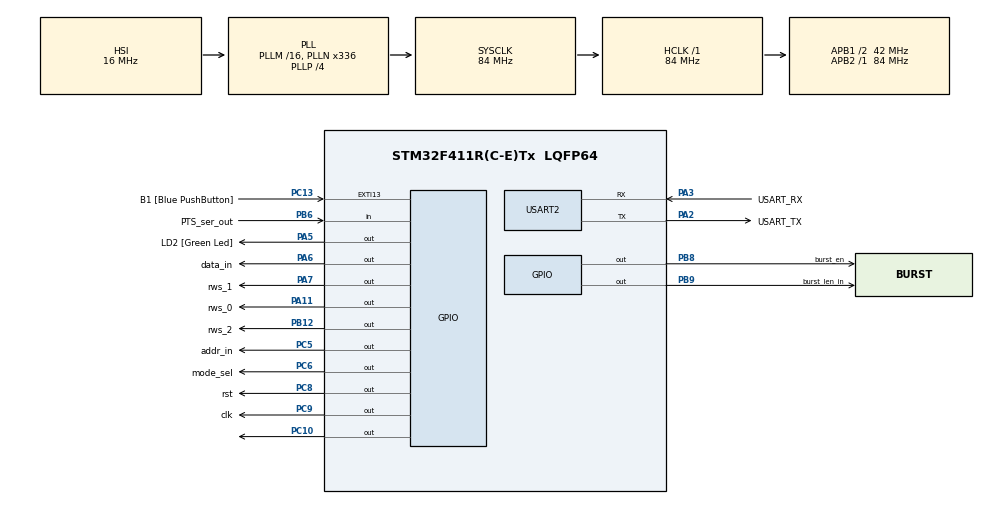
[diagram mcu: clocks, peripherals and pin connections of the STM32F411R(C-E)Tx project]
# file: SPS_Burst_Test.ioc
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Mcu.Family=STM32F4
Mcu.Name=STM32F411R(C-E)Tx
Mcu.Package=LQFP64
NVIC.PriorityGroup=NVIC_PRIORITYGROUP_0
PA11.GPIO_Label=rws_0
PA11.Signal=GPIO_Output
PA13.GPIO_Label=TMS
PA13.Mode=Serial_Wire
PA13.Signal=SYS_JTMS-SWDIO
PA14.GPIO_Label=TCK
PA14.Mode=Serial_Wire
PA14.Signal=SYS_JTCK-SWCLK
PA2.GPIO_Label=USART_TX
PA2.Mode=Asynchronous
PA2.Signal=USART2_TX
PA3.GPIO_Label=USART_RX
PA3.Mode=Asynchronous
PA3.Signal=USART2_RX
PA5.GPIO_Label=LD2 [Green Led]
PA5.Signal=GPIO_Output
PA6.GPIO_Label=data_in
PA6.Signal=GPIO_Output
PA7.GPIO_Label=rws_1
PA7.Signal=GPIO_Output
PB12.GPIO_Label=rws_2
PB12.Signal=GPIO_Output
PB3.GPIO_Label=SWO
PB3.Signal=SYS_JTDO-SWO
PB6.GPIO_Label=PTS_ser_out
PB6.Signal=GPIO_Input
PB8.GPIO_Label=burst_en
PB8.Signal=GPIO_Output
PB9.GPIO_Label=burst_len_in
PB9.Signal=GPIO_Output
PC10.Signal=GPIO_Output
PC13-ANTI_TAMP.GPIO_Label=B1 [Blue PushButton]
PC13-ANTI_TAMP.GPIO_ModeDefaultEXTI=GPIO_MODE_IT_FALLING
PC13-ANTI_TAMP.Signal=GPXTI13
PC14-OSC32_IN.Mode=LSE-External-Oscillator
PC14-OSC32_IN.Signal=RCC_OSC32_IN
PC15-OSC32_OUT.Mode=LSE-External-Oscillator
PC15-OSC32_OUT.Signal=RCC_OSC32_OUT
PC5.GPIO_Label=addr_in
PC5.Signal=GPIO_Output
PC6.GPIO_Label=mode_sel
PC6.Signal=GPIO_Output
PC8.GPIO_Label=rst
PC8.Signal=GPIO_Output
PC9.GPIO_Label=clk
PC9.Signal=GPIO_Output
PH0\ -\ OSC_IN.Mode=HSE-External-Clock-Source
PH0\ -\ OSC_IN.Signal=RCC_OSC_IN
PH1\ -\ OSC_OUT.Mode=HSE-External-Clock-Source
PH1\ -\ OSC_OUT.Signal=RCC_OSC_OUT
ProjectManager.HeapSize=0x200
ProjectManager.StackSize=0x400
ProjectManager.TargetToolchain=STM32CubeIDE
RCC.48MHZClocksFreq_Value=84000000
RCC.AHBFreq_Value=84000000
RCC.APB1CLKDivider=RCC_HCLK_DIV2
RCC.APB1Freq_Value=42000000
RCC.APB1TimFreq_Value=84000000
RCC.APB2Freq_Value=84000000
RCC.APB2TimFreq_Value=84000000
RCC.CortexFreq_Value=84000000
RCC.FLatency-AdvancedSettings=FLASH_LATENCY_2
RCC.HCLKFreq_Value=84000000
RCC.HSE_VALUE=8000000
RCC.HSI_VALUE=16000000
RCC.PLLN=336
RCC.PLLP=RCC_PLLP_DIV4
RCC.SYSCLKFreq_VALUE=84000000
RCC.SYSCLKSource=RCC_SYSCLKSOURCE_PLLCLK
RCC.VCOOutputFreq_Value=336000000
TIM1.Period=0xffff - 1
TIM1.Prescaler=1 - 1
TIM2.Prescaler=84 - 1
USART2.VirtualMode=VM_ASYNC
VP_TIM1_VS_ClockSourceINT.Mode=Internal
VP_TIM2_VS_ClockSourceINT.Mode=Internal
board=NUCLEO-F411RE

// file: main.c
/* USER CODE BEGIN Header */
/**
  ******************************************************************************
  * @file           : main.c
  * @brief          : Main program body
  ******************************************************************************
  * @attention
  *
  * Copyright (c) 2025 STMicroelectronics.
  * All rights reserved.
  *
  * This software is licensed under terms that can be found in the LICENSE file
  * in the root directory of this software component.
  * If no LICENSE file comes with this software, it is provided AS-IS.
  *
  ******************************************************************************
  */
/* USER CODE END Header */
#include "main.h"

TIM_HandleTypeDef htim1;
TIM_HandleTypeDef htim2;

UART_HandleTypeDef huart2;

void SystemClock_Config(void);
static void MX_GPIO_Init(void);
static void MX_USART2_UART_Init(void);
static void MX_TIM1_Init(void);
static void MX_TIM2_Init(void);

int main(void)
{

  /* MCU Configuration--------------------------------------------------------*/

  /* Reset of all peripherals, Initializes the Flash interface and the Systick. */
  HAL_Init();

  /* Configure the system clock */
  SystemClock_Config();

  /* Initialize all configured peripherals */
  MX_GPIO_Init();
  MX_USART2_UART_Init();
  MX_TIM1_Init();
  MX_TIM2_Init();
  /* USER CODE BEGIN 2 */
  	// Measuring Elapsed time
    uint32_t start, stop, elapsed;
    double elapsed_time;

	// Printing to terminal
	uint8_t tx_buff[64];
	int read_data[16];

	sprintf(tx_buff, "Starting Program\r\n");
	HAL_UART_Transmit(&huart2, tx_buff, 19, 1000);

	// Delay function
	HAL_TIM_Base_Start(&htim1);
	void delay_us (uint16_t us)
	{
	// Changes depending on prescaler set in TIM1.
	// TIM1 is connected to APB2 and will be clocked at 84Mhz
	// Possible to tweak the prescalar in order to change the clock speed
    // As of now, the prescaler is set to 1, meaning that the period is 1/84^6, approx 12ns.
	__HAL_TIM_SET_COUNTER(&htim1,0);  // set the counter value a 0
	while (__HAL_TIM_GET_COUNTER(&htim1) < us);  // wait for the counter to reach the us input in the parameter
	}

	// System reset. Ends with clock being low. 9 8 6 5
	void MRAM_reset(){
	  HAL_GPIO_WritePin(GPIOC, clk_Pin, 0);				// PC9
	  HAL_GPIO_WritePin(GPIOC, rst_Pin, 1);				// PC8
	  HAL_GPIO_WritePin(GPIOB, burst_en_Pin, 0);		// PB8
	  HAL_GPIO_WritePin(GPIOC, mode_sel_Pin, 0);		// PC6
	  HAL_GPIO_WritePin(GPIOB, burst_len_in_Pin, 0);	// PB9
	  HAL_GPIO_WritePin(GPIOC, addr_in_Pin, 0);			// PC5
	  HAL_GPIO_WritePin(GPIOA, data_in_Pin, 0);			// PA6
	  HAL_GPIO_WritePin(GPIOA, rws_0_Pin, 1);			// PA11
	  HAL_GPIO_WritePin(GPIOA, rws_1_Pin, 1);			// PA7
	  HAL_GPIO_WritePin(GPIOB, rws_2_Pin, 1);			// PB12
	  delay_us(1);
	  HAL_GPIO_WritePin(GPIOC, clk_Pin, 1);
	  delay_us(1);
	  HAL_GPIO_WritePin(GPIOC, clk_Pin, 0);
	}

	void MRAM_reset_no_HAL(){
		  // Set the GPIO pins
		  GPIOA->BSRR = 0x000008C0;
		  GPIOB->BSRR = 0x00001300;
		  GPIOC->BSRR = 0x00000360;

		  // Write the following values to the pins (as per MRAM_reset)
		  GPIOA->ODR = 0x00000880;
		  GPIOB->ODR = 0x00001000;
		  GPIOC->ODR = 0x00000100;
		  delay_us(1);
		  // Set clock high
		  GPIOC->ODR = 0x00000300;
		  delay_us(1);
		  // Set clock low
		  GPIOC->ODR = 0x00000100;
	}

	// Single word write
	uint32_t bitwise_one = 1;

	void MRAM_single_word_write(uint32_t addr_in, uint32_t data_in){		// 16-bit unsigned short
	  int  i;
	  uint32_t addr = addr_in;
	  uint32_t data = data_in;

	  for (i = 0; i < 23; i++){
		  HAL_GPIO_WritePin(GPIOC, clk_Pin, 0);					// PC9
		  HAL_GPIO_WritePin(GPIOC, rst_Pin, 0);					// PC8

		  if (i == 0){
			  HAL_GPIO_WritePin(GPIOB, burst_en_Pin, 0);		// PB8
			  HAL_GPIO_WritePin(GPIOC, mode_sel_Pin, 0);		// PC6
			  HAL_GPIO_WritePin(GPIOB, burst_len_in_Pin, 0);	// PB9
			  HAL_GPIO_WritePin(GPIOA, rws_0_Pin, 1);			// PA11
			  HAL_GPIO_WritePin(GPIOA, rws_1_Pin, 1);			// PA7
			  HAL_GPIO_WritePin(GPIOB, rws_2_Pin, 1);			// PB12
		  }
		  else{
			  if (i > 1){
				  addr = addr >> 1;
				  data = data >> 1;
			  }
			  HAL_GPIO_WritePin(GPIOC, addr_in_Pin, addr & bitwise_one);		// PC5
			  HAL_GPIO_WritePin(GPIOA, data_in_Pin, data & bitwise_one);		// PA6
		  }

		  //delay_us(1);
		  HAL_GPIO_WritePin(GPIOC, clk_Pin, 1);
		  //delay_us(1);
	  }
	}

	  void MRAM_single_word_write_no_HAL(uint32_t addr_in, uint32_t data_in){
	  	  int  i;
	  	  uint32_t addr = addr_in;
	  	  uint32_t data = data_in;

	  	  for (i = 0; i < 23; i++){
	  		  // Set clk and rst low
	  		  GPIOC->ODR = GPIOC->ODR & 0xFCFF;

	  		  if (i == 0){
	  			GPIOA->ODR = 0x00000880;
	  			GPIOB->ODR = 0x00001300;
	  			//GPIOC->ODR = 0x00000000;
	  		  }
	  		  else{
	  			  if (i > 1){
	  				  addr = addr >> 1;
	  				  data = data >> 1;
	  			  }
	  			  GPIOC->ODR = (GPIOC->ODR & 0xFFDF) | ((addr & bitwise_one) << 5);
	  			  GPIOA->ODR = (GPIOA->ODR & 0xFFBF) | ((data & bitwise_one) << 6);
	  		  }

	  		  //delay_us(1);
	  		  GPIOC->ODR = GPIOC->ODR | 0x200;
	  		  //delay_us(1);
	  	  }

	  // End on low clock
	  	GPIOC->ODR = 0x00000000;
	}

  	  // Single Word Read
  	  void MRAM_single_word_read(uint32_t addr_in, uint16_t arr_read[]){		// 16-bit unsigned short
  	  int  i;
  	  uint32_t addr = addr_in;
  	  uint16_t data = 0;

  	  // First loop to receive base address
  	  for (i = 0; i < 23; i++){
  		  HAL_GPIO_WritePin(GPIOC, clk_Pin, 0);
  		  HAL_GPIO_WritePin(GPIOC, rst_Pin, 0);

  		  if (i == 0){
  			  HAL_GPIO_WritePin(GPIOB, burst_en_Pin, 0);
  			  HAL_GPIO_WritePin(GPIOC, mode_sel_Pin, 0);
  			  HAL_GPIO_WritePin(GPIOB, burst_len_in_Pin, 0);
  			  HAL_GPIO_WritePin(GPIOA, rws_0_Pin, 0);
  			  HAL_GPIO_WritePin(GPIOA, rws_1_Pin, 1);
  			  HAL_GPIO_WritePin(GPIOB, rws_2_Pin, 1);
  		  }
  		  else{
  			if (i > 1){
  				addr = addr >> 1;
  			}
  			HAL_GPIO_WritePin(GPIOC, addr_in_Pin, addr & bitwise_one);
  		  }
  		  //delay_us(1);
  		  HAL_GPIO_WritePin(GPIOC, clk_Pin, 1);
  		  //delay_us(1);
  	  }

  	  // Second loop: Stall and receive data
  	    for (int i = 0; i < 2; i++){
  	    	  HAL_GPIO_WritePin(GPIOC, clk_Pin, 1);
  	    	  //delay_us(1);
  	    	  HAL_GPIO_WritePin(GPIOC, clk_Pin, 0);
  	    	  //delay_us(1);
  	    }

  	    for (int i = 0; i < 16; i++){
  	  	  HAL_GPIO_WritePin(GPIOC, clk_Pin, 1);
  	  	  //read_data[i] = HAL_GPIO_ReadPin(GPIOB, PTS_ser_out_Pin);								// PB6
  	  	  arr_read[0] = (arr_read[0] >> 1) | (HAL_GPIO_ReadPin(GPIOB, PTS_ser_out_Pin) << 15);
  	  	  //sprintf(tx_buff, "Data[%d]: %d \r\n", i, read_data[i]);
  	  	  //HAL_UART_Transmit(&huart2, tx_buff, 14, 1000);
  	  	  //delay_us(1);
  	  	  HAL_GPIO_WritePin(GPIOC, clk_Pin, 0);
  	  	  //delay_us(1);
  	    }

  	    //sprintf(tx_buff, "Data: %d%d%d%d%d%d%d%d%d%d%d%d%d%d%d%d \r\n", read_data[15], read_data[14], read_data[13], read_data[12], read_data[11], read_data[10], read_data[9], read_data[8], read_data[7], read_data[6], read_data[5], read_data[4], read_data[3], read_data[2], read_data[1], read_data[0]);
  	    //HAL_UART_Transmit(&huart2, tx_buff, 27, 1000);
  	    //sprintf(tx_buff, "Data: %x\r\n", data);
  	  	//HAL_UART_Transmit(&huart2, tx_buff, 27, 1000);

  	    // End on low clock
  	    HAL_GPIO_WritePin(GPIOC, clk_Pin, 0);
    }

  	void MRAM_single_word_read_no_HAL(uint32_t addr_in, uint16_t arr_read[]){
		  int  i;
		  uint32_t addr = addr_in;
		  uint16_t data = 0;

		  for (i = 0; i < 23; i++){
			  // Set clk and rst low
			  GPIOC->ODR = GPIOC->ODR & 0xFCFF;

			  if (i == 0){
				GPIOA->ODR = 0x00000080;
				GPIOB->ODR = 0x00001300;		// should be 0x00001000
				//GPIOC->ODR = 0x00000000;
			  }
			  else{
				  if (i > 1){
					  addr = addr >> 1;
				  }
				  // Shift in the bits from LSB to MSB
				  GPIOC->ODR = (GPIOC->ODR & 0xFFDF) | ((addr & bitwise_one) << 5);
			  }

			  //delay_us(1);
			  GPIOC->ODR = GPIOC->ODR | 0x200;
			  //delay_us(1);
		  }

		// Second loop: Stall and receive data
		for (int i = 0; i < 2; i++){
			  GPIOC->ODR = GPIOC->ODR | 0x200;
			  //delay_us(1);
			  GPIOC->ODR = GPIOC->ODR & 0xFCFF;
			  //delay_us(1);
		}

		for (int i = 0; i < 16; i++){
		  GPIOC->ODR = GPIOC->ODR | 0x200;
		  arr_read[0] = arr_read[0] >> 1 | ((GPIOB->IDR & 0x40) << 9);
		  //delay_us(1);
		  GPIOC->ODR = GPIOC->ODR & 0xFCFF;
		  //delay_us(1);
		}

		// End on low clock
		GPIOC->ODR = GPIOC->ODR & 0xFCFF;
	}

  	// Burst write
  	void MRAM_burst_write(uint32_t addr_in, uint32_t data_arr[], uint32_t burst_len_in){
  		int i;
  		int j;
  		uint32_t addr = addr_in;
  		uint32_t burst_len = burst_len_in;		// Burst_len has same len as array len
  		uint32_t burst_len_loop = burst_len_in;
  		uint32_t data;

  		for (i = 0; i < burst_len_loop; i++ ){

  			data = data_arr[i];

  			for (j = 0; j < 23; j++){
				  HAL_GPIO_WritePin(GPIOC, clk_Pin, 0);
				  HAL_GPIO_WritePin(GPIOC, rst_Pin, 0);

				  if (j == 0){
					  HAL_GPIO_WritePin(GPIOB, burst_en_Pin, 1);
					  HAL_GPIO_WritePin(GPIOC, mode_sel_Pin, 1);
					  HAL_GPIO_WritePin(GPIOA, rws_0_Pin, 1);
					  HAL_GPIO_WritePin(GPIOA, rws_1_Pin, 1);
					  HAL_GPIO_WritePin(GPIOB, rws_2_Pin, 1);
				  }
				  else{
					  if (j > 1){
						  addr = addr >> 1;
						  data = data >> 1;
						  burst_len = burst_len >> 1;
					  }
					  HAL_GPIO_WritePin(GPIOC, addr_in_Pin, addr & bitwise_one);
					  HAL_GPIO_WritePin(GPIOA, data_in_Pin, data & bitwise_one);
					  HAL_GPIO_WritePin(GPIOB, burst_len_in_Pin, burst_len & bitwise_one);
				  }

				  //delay_us(1);
				  HAL_GPIO_WritePin(GPIOC, clk_Pin, 1);
				  //delay_us(1);
  			}
  		}
  		// End on low clock
  		HAL_GPIO_WritePin(GPIOC, clk_Pin, 0);
  	}

  	// Burst write
  	  	void MRAM_burst_write_no_HAL(uint32_t addr_in, uint32_t data_arr[], uint32_t burst_len_in){
  	  		int i;
  	  		int j;
  	  		uint32_t addr = addr_in;
  	  		uint32_t burst_len = burst_len_in;		// Burst_len has same len as array len
  	  		uint32_t burst_len_loop = burst_len_in;
  	  		uint32_t data;

  	  		for (i = 0; i < burst_len_loop; i++ ){

  	  			data = data_arr[i];

  	  			for (j = 0; j < 23; j++){

  	  				  GPIOC->ODR = GPIOC->ODR & 0xFCFF;

  					  if (j == 0){
  						  GPIOA->ODR = GPIOA->ODR | 0x00000880;
  						  GPIOB->ODR = GPIOA->ODR | 0x00001100;
  						  GPIOC->ODR = GPIOA->ODR | 0x00000040;
  					  }
  					  else{
  						  if (j > 1){
  							  addr = addr >> 1;
  							  data = data >> 1;
  							  burst_len = burst_len >> 1;
  						  }
  						  GPIOC->ODR = (GPIOC->ODR & 0xFFDF) | ((addr & bitwise_one) << 5);
  						  GPIOA->ODR = (GPIOA->ODR & 0xFFBF) | ((data & bitwise_one) << 6);
  						  GPIOB->ODR = (GPIOB->ODR & 0xFDFF) | ((burst_len & bitwise_one) << 9);
  					  }

  					  //delay_us(1);
  					  GPIOC->ODR = GPIOC->ODR | 0x200;
  					  //delay_us(1);
  	  			}
  	  		}
  	  		// End on low clock
  	  		GPIOC->ODR = GPIOC->ODR & 0xFCFF;
  	  	}

  	// Burst read
  	void MRAM_burst_read(uint32_t addr_in, uint16_t arr_read[], uint32_t burst_len_in){
  		int i;
  		int j;
  		uint32_t addr = addr_in;
  		uint32_t burst_len = burst_len_in;
  		uint32_t burst_len_loop = burst_len_in;
  		uint16_t data = 0;

  		for (i = 0; i <= burst_len_loop; i++){
  			switch(i){
  			case 0:
  				for (j = 0; j < 23; j++){
  					HAL_GPIO_WritePin(GPIOC, clk_Pin, 0);
  					HAL_GPIO_WritePin(GPIOC, rst_Pin, 0);
					if (j == 0){
						  HAL_GPIO_WritePin(GPIOB, burst_en_Pin, 1);
						  HAL_GPIO_WritePin(GPIOC, mode_sel_Pin, 1);
						  HAL_GPIO_WritePin(GPIOA, rws_0_Pin, 0);
						  HAL_GPIO_WritePin(GPIOA, rws_1_Pin, 1);
						  HAL_GPIO_WritePin(GPIOB, rws_2_Pin, 1);
					}
					else{
						if (j > 1){
							  addr = addr >> 1;
							  burst_len = burst_len >> 1;
						  }
						  HAL_GPIO_WritePin(GPIOC, addr_in_Pin, addr & bitwise_one);
						  HAL_GPIO_WritePin(GPIOB, burst_len_in_Pin, burst_len & bitwise_one);
					}
					//delay_us(1);
				    HAL_GPIO_WritePin(GPIOC, clk_Pin, 1);
				    //delay_us(1);
				}
  				break;

  			default:
  				for (int k = 0; k < 1; k++){
  					  HAL_GPIO_WritePin(GPIOC, clk_Pin, 0);
  					  //delay_us(1);
					  HAL_GPIO_WritePin(GPIOC, clk_Pin, 1);
					  //delay_us(1);
				}
  				for (int k = 0; k < 16; k++){
  					  HAL_GPIO_WritePin(GPIOC, clk_Pin, 0);
  					  //delay_us(1);
					  HAL_GPIO_WritePin(GPIOC, clk_Pin, 1);
					  //read_data[k] = HAL_GPIO_ReadPin(GPIOB, PTS_ser_out_Pin);
					  arr_read[i-1] = (arr_read[i-1] >> 1) | (HAL_GPIO_ReadPin(GPIOB, PTS_ser_out_Pin) << 15);
					  //sprintf(tx_buff, "Data[%d]: %d \r\n", k, read_data[k]);
					  //HAL_UART_Transmit(&huart2, tx_buff, 14, 1000);
					  //delay_us(1);
				}

				//sprintf(tx_buff, "Data: %d%d%d%d%d%d%d%d%d%d%d%d%d%d%d%d \r\n", read_data[15], read_data[14], read_data[13], read_data[12], read_data[11], read_data[10], read_data[9], read_data[8], read_data[7], read_data[6], read_data[5], read_data[4], read_data[3], read_data[2], read_data[1], read_data[0]);
				//HAL_UART_Transmit(&huart2, tx_buff, 27, 1000);
				//sprintf(tx_buff, "Data: %x\r\n", data);
				//HAL_UART_Transmit(&huart2, tx_buff, 27, 1000);

				for (int k = 0; k < 6; k++){
					HAL_GPIO_WritePin(GPIOC, clk_Pin, 0);
					//delay_us(1);
				    HAL_GPIO_WritePin(GPIOC, clk_Pin, 1);
				    //delay_us(1);
				}
				break;
  			}

  		}
  		// End on low clock
  		HAL_GPIO_WritePin(GPIOC, clk_Pin, 0);
  	}

  	// Burst read
	void MRAM_burst_read_no_HAL(uint32_t addr_in, uint16_t arr_read[], uint32_t burst_len_in){
		int i;
		int j;
		uint32_t addr = addr_in;
		uint32_t burst_len = burst_len_in;
		uint32_t burst_len_loop = burst_len_in;

		for (i = 0; i <= burst_len_loop; i++){
			switch(i){
			case 0:
				for (j = 0; j < 23; j++){

					GPIOC->ODR = GPIOC->ODR & 0xFCFF;

					if (j == 0){
						GPIOA->ODR = 0x00000080;
					    GPIOB->ODR = 0x00001300;
					    GPIOC->ODR = GPIOC->ODR | 0x00000040;
					}
					else{
						if (j > 1){
							  addr = addr >> 1;
							  burst_len = burst_len >> 1;
						  }
						GPIOC->ODR = (GPIOC->ODR & 0xFFDF) | ((addr & bitwise_one) << 5);
					    GPIOB->ODR = (GPIOB->ODR & 0xFDFF) | ((burst_len & bitwise_one) << 9);
					}
					//delay_us(1);
					GPIOC->ODR = GPIOC->ODR | 0x200;
					//delay_us(1);
				}
				break;

			default:
				for (int k = 0; k < 1; k++){
					GPIOC->ODR = GPIOC->ODR & 0xFCFF;
				    //delay_us(1);
				    GPIOC->ODR = GPIOC->ODR | 0x200;
				    //delay_us(1);
				}
				for (int k = 0; k < 16; k++){
					  GPIOC->ODR = GPIOC->ODR & 0xFCFF;
					  //delay_us(1);
					  GPIOC->ODR = GPIOC->ODR | 0x200;
					  arr_read[i-1] = (arr_read[i-1] >> 1) | (HAL_GPIO_ReadPin(GPIOB, PTS_ser_out_Pin) << 15);
					  //delay_us(1);
				}

				for (int k = 0; k < 6; k++){
					GPIOC->ODR = GPIOC->ODR & 0xFCFF;
					//delay_us(1);
					GPIOC->ODR = GPIOC->ODR | 0x200;
					//delay_us(1);
				}
				break;
			}

		}
		// End on low clock
		GPIOC->ODR = GPIOC->ODR & 0xFCFF;
	}

  /* USER CODE END 2 */

  /* Infinite loop */
  /* USER CODE BEGIN WHILE */
  uint32_t arr[] = {0x89ab, 0x5555, 0x1234};
  //uint32_t arr[] = {0x1234, 0x5678, 0x9abc};
  uint32_t arr_8B[] = {0x1234, 0x5678, 0x9abc, 0xdef0};
  uint32_t arr_16B[] = {0x4321, 0x8765, 0xcba9, 0x0fed, 0x1111, 0x2222, 0x3333, 0x4444};
  uint32_t arr_32B[] = {0x1122, 0x3344, 0x4455, 0x6677, 0x8899, 0xaabb, 0xccdd, 0xeeff, 0x1234, 0x5678, 0x9abc, 0xdef0, 0x4321, 0x8765, 0xcba9, 0x0fed};
  //uint32_t arr_32B[] = {0x3344, 0x4455, 0x6677, 0x8899, 0xaabb, 0xccdd, 0xeeff, 0x1234, 0x5678, 0x9abc, 0xdef0, 0x4321, 0x8765, 0xcba9, 0x0fed, 0x1122};
  uint16_t arr_read[16];
  GPIOA->BSRR = 0x00000400;
  GPIOB->BSRR = 0x00000400;
  GPIOC->BSRR = 0x00000400;

  __HAL_RCC_TIM2_CLK_ENABLE();
  //TIM2->PSC = HAL_RCC_GetPCLK1Freq()/1000000 - 1;
  TIM2->CR1 = TIM_CR1_CEN;
  while (1)
  {
    /* USER CODE END WHILE */

    /* USER CODE BEGIN 3 */
	  // Timer 2's counter
	  //__HAL_TIM_SET_COUNTER(&htim2,0);  // set the counter value a 0
	  //start = TIM2->CNT;

	  // MRAM operation
	  MRAM_reset();
	  //MRAM_reset_no_HAL();
	  //start = TIM2->CNT;
	  //MRAM_single_word_write(0, 0x4567);
	  //MRAM_single_word_write_no_HAL(0, 0xabcd);
	  //for (int c = 0; c < 4; c++){
		  //MRAM_single_word_write(c, arr_8B[c]);
	  //}
	  //stop = TIM2->CNT;

	  start = TIM2->CNT;
	  //MRAM_single_word_read(0, arr_read);
	  MRAM_single_word_read_no_HAL(0, arr_read);
	  //for (int c = 0; c < 4; c++){
	  //		  MRAM_single_word_read(c, arr_read[c]);
	  //}
	  stop = TIM2->CNT;

	  //MRAM_burst_read_no_HAL(0, arr_read, 4);

	  //start = TIM2->CNT;
	  //MRAM_burst_write(0, arr_8B, 4);
	  //MRAM_burst_write_no_HAL(0, arr_8B, 4);
	  //stop = TIM2->CNT;
	  //MRAM_reset();

	  //start = TIM2->CNT;
	  //MRAM_burst_read(0, arr_read, 4);
	  //MRAM_burst_read_no_HAL(0, arr_read, 4);
	  //stop = TIM2->CNT;

	  //MRAM_reset();
	  //MRAM_single_word_read(2);

	  // Stop counter, read the time
	  //stop = TIM2->CNT;
	  elapsed = stop - start;
	  elapsed_time = elapsed;
	  sprintf(tx_buff, "Elapsed Time: %d us\r\n", elapsed);
	  HAL_UART_Transmit(&huart2, tx_buff, 23, 1000);

	  for (int b = 0; b < 1; b++){
		  sprintf(tx_buff, "Data: 0x%x \r\n", arr_read[b]);
		  HAL_UART_Transmit(&huart2, tx_buff, 16, 1000);
	  }

	  //sprintf(tx_buff, "Data: 0x%x \r\n", arr_read[0]);
	  //HAL_UART_Transmit(&huart2, tx_buff, 16, 1000);

	  /*
	  // Testing GPIO manipulation without HAL
	  // Set the gpio pin
	  GPIOA->BSRR = 0x00000020;
	  // Set output of gpio pin to 1
	  GPIOA->ODR = 0x00000020;
	  HAL_Delay(1000);
	  // Set output of gpio pin to 1
	  GPIOA->ODR = 0x00000000;
	  HAL_Delay(1000);
	*/

	  //HAL_GPIO_TogglePin(GPIOC, GPIO_PIN_10);
	  //GPIOC->ODR = 0x400;
	  //delay_us(1);
	  //GPIOC->ODR = 0x000;
	  //delay_us(1);

	  while (1){
		  HAL_Delay(1000);
	  }
  }
  /* USER CODE END 3 */
}

void SystemClock_Config(void)
{
  RCC_OscInitTypeDef RCC_OscInitStruct = {0};
  RCC_ClkInitTypeDef RCC_ClkInitStruct = {0};

  /** Configure the main internal regulator output voltage
  */
  __HAL_RCC_PWR_CLK_ENABLE();
  __HAL_PWR_VOLTAGESCALING_CONFIG(PWR_REGULATOR_VOLTAGE_SCALE1);

  /** Initializes the RCC Oscillators according to the specified parameters
  * in the RCC_OscInitTypeDef structure.
  */
  RCC_OscInitStruct.OscillatorType = RCC_OSCILLATORTYPE_HSI;
  RCC_OscInitStruct.HSIState = RCC_HSI_ON;
  RCC_OscInitStruct.HSICalibrationValue = RCC_HSICALIBRATION_DEFAULT;
  RCC_OscInitStruct.PLL.PLLState = RCC_PLL_ON;
  RCC_OscInitStruct.PLL.PLLSource = RCC_PLLSOURCE_HSI;
  RCC_OscInitStruct.PLL.PLLM = 16;
  RCC_OscInitStruct.PLL.PLLN = 336;
  RCC_OscInitStruct.PLL.PLLP = RCC_PLLP_DIV4;
  RCC_OscInitStruct.PLL.PLLQ = 4;
  if (HAL_RCC_OscConfig(&RCC_OscInitStruct) != HAL_OK)
  {
    Error_Handler();
  }

  /** Initializes the CPU, AHB and APB buses clocks
  */
  RCC_ClkInitStruct.ClockType = RCC_CLOCKTYPE_HCLK|RCC_CLOCKTYPE_SYSCLK
                              |RCC_CLOCKTYPE_PCLK1|RCC_CLOCKTYPE_PCLK2;
  RCC_ClkInitStruct.SYSCLKSource = RCC_SYSCLKSOURCE_PLLCLK;
  RCC_ClkInitStruct.AHBCLKDivider = RCC_SYSCLK_DIV1;
  RCC_ClkInitStruct.APB1CLKDivider = RCC_HCLK_DIV2;
  RCC_ClkInitStruct.APB2CLKDivider = RCC_HCLK_DIV1;

  if (HAL_RCC_ClockConfig(&RCC_ClkInitStruct, FLASH_LATENCY_2) != HAL_OK)
  {
    Error_Handler();
  }
}

static void MX_TIM1_Init(void)
{

  TIM_ClockConfigTypeDef sClockSourceConfig = {0};
  TIM_MasterConfigTypeDef sMasterConfig = {0};

  htim1.Instance = TIM1;
  htim1.Init.Prescaler = 1 - 1;
  htim1.Init.CounterMode = TIM_COUNTERMODE_UP;
  htim1.Init.Period = 0xffff - 1;
  htim1.Init.ClockDivision = TIM_CLOCKDIVISION_DIV1;
  htim1.Init.RepetitionCounter = 0;
  htim1.Init.AutoReloadPreload = TIM_AUTORELOAD_PRELOAD_DISABLE;
  if (HAL_TIM_Base_Init(&htim1) != HAL_OK)
  {
    Error_Handler();
  }
  sClockSourceConfig.ClockSource = TIM_CLOCKSOURCE_INTERNAL;
  if (HAL_TIM_ConfigClockSource(&htim1, &sClockSourceConfig) != HAL_OK)
  {
    Error_Handler();
  }
  sMasterConfig.MasterOutputTrigger = TIM_TRGO_RESET;
  sMasterConfig.MasterSlaveMode = TIM_MASTERSLAVEMODE_DISABLE;
  if (HAL_TIMEx_MasterConfigSynchronization(&htim1, &sMasterConfig) != HAL_OK)
  {
    Error_Handler();
  }

}

static void MX_TIM2_Init(void)
{

  TIM_ClockConfigTypeDef sClockSourceConfig = {0};
  TIM_MasterConfigTypeDef sMasterConfig = {0};

  htim2.Instance = TIM2;
  htim2.Init.Prescaler = 84 - 1;
  htim2.Init.CounterMode = TIM_COUNTERMODE_UP;
  htim2.Init.Period = 4294967295;
  htim2.Init.ClockDivision = TIM_CLOCKDIVISION_DIV1;
  htim2.Init.AutoReloadPreload = TIM_AUTORELOAD_PRELOAD_DISABLE;
  if (HAL_TIM_Base_Init(&htim2) != HAL_OK)
  {
    Error_Handler();
  }
  sClockSourceConfig.ClockSource = TIM_CLOCKSOURCE_INTERNAL;
  if (HAL_TIM_ConfigClockSource(&htim2, &sClockSourceConfig) != HAL_OK)
  {
    Error_Handler();
  }
  sMasterConfig.MasterOutputTrigger = TIM_TRGO_RESET;
  sMasterConfig.MasterSlaveMode = TIM_MASTERSLAVEMODE_DISABLE;
  if (HAL_TIMEx_MasterConfigSynchronization(&htim2, &sMasterConfig) != HAL_OK)
  {
    Error_Handler();
  }

}

static void MX_USART2_UART_Init(void)
{

  huart2.Instance = USART2;
  huart2.Init.BaudRate = 115200;
  huart2.Init.WordLength = UART_WORDLENGTH_8B;
  huart2.Init.StopBits = UART_STOPBITS_1;
  huart2.Init.Parity = UART_PARITY_NONE;
  huart2.Init.Mode = UART_MODE_TX_RX;
  huart2.Init.HwFlowCtl = UART_HWCONTROL_NONE;
  huart2.Init.OverSampling = UART_OVERSAMPLING_16;
  if (HAL_UART_Init(&huart2) != HAL_OK)
  {
    Error_Handler();
  }

}

static void MX_GPIO_Init(void)
{
  GPIO_InitTypeDef GPIO_InitStruct = {0};

  /* GPIO Ports Clock Enable */
  __HAL_RCC_GPIOC_CLK_ENABLE();
  __HAL_RCC_GPIOH_CLK_ENABLE();
  __HAL_RCC_GPIOA_CLK_ENABLE();
  __HAL_RCC_GPIOB_CLK_ENABLE();

  /*Configure GPIO pin Output Level */
  HAL_GPIO_WritePin(GPIOA, LD2_Pin|data_in_Pin|rws_1_Pin|rws_0_Pin, GPIO_PIN_RESET);

  /*Configure GPIO pin Output Level */
  HAL_GPIO_WritePin(GPIOC, addr_in_Pin|mode_sel_Pin|rst_Pin|clk_Pin
                          |GPIO_PIN_10, GPIO_PIN_RESET);

  /*Configure GPIO pin Output Level */
  HAL_GPIO_WritePin(GPIOB, rws_2_Pin|burst_en_Pin|burst_len_in_Pin, GPIO_PIN_RESET);

  /*Configure GPIO pin : B1_Pin */
  GPIO_InitStruct.Pin = B1_Pin;
  GPIO_InitStruct.Mode = GPIO_MODE_IT_FALLING;
  GPIO_InitStruct.Pull = GPIO_NOPULL;
  HAL_GPIO_Init(B1_GPIO_Port, &GPIO_InitStruct);

  /*Configure GPIO pins : LD2_Pin data_in_Pin rws_1_Pin rws_0_Pin */
  GPIO_InitStruct.Pin = LD2_Pin|data_in_Pin|rws_1_Pin|rws_0_Pin;
  GPIO_InitStruct.Mode = GPIO_MODE_OUTPUT_PP;
  GPIO_InitStruct.Pull = GPIO_NOPULL;
  GPIO_InitStruct.Speed = GPIO_SPEED_FREQ_LOW;
  HAL_GPIO_Init(GPIOA, &GPIO_InitStruct);

  /*Configure GPIO pins : addr_in_Pin mode_sel_Pin rst_Pin clk_Pin
                           PC10 */
  GPIO_InitStruct.Pin = addr_in_Pin|mode_sel_Pin|rst_Pin|clk_Pin
                          |GPIO_PIN_10;
  GPIO_InitStruct.Mode = GPIO_MODE_OUTPUT_PP;
  GPIO_InitStruct.Pull = GPIO_NOPULL;
  GPIO_InitStruct.Speed = GPIO_SPEED_FREQ_LOW;
  HAL_GPIO_Init(GPIOC, &GPIO_InitStruct);

  /*Configure GPIO pins : rws_2_Pin burst_en_Pin burst_len_in_Pin */
  GPIO_InitStruct.Pin = rws_2_Pin|burst_en_Pin|burst_len_in_Pin;
  GPIO_InitStruct.Mode = GPIO_MODE_OUTPUT_PP;
  GPIO_InitStruct.Pull = GPIO_NOPULL;
  GPIO_InitStruct.Speed = GPIO_SPEED_FREQ_LOW;
  HAL_GPIO_Init(GPIOB, &GPIO_InitStruct);

  /*Configure GPIO pin : PTS_ser_out_Pin */
  GPIO_InitStruct.Pin = PTS_ser_out_Pin;
  GPIO_InitStruct.Mode = GPIO_MODE_INPUT;
  GPIO_InitStruct.Pull = GPIO_NOPULL;
  HAL_GPIO_Init(PTS_ser_out_GPIO_Port, &GPIO_InitStruct);

}

void Error_Handler(void)
{
  __disable_irq();
  while (1)
  {
  }
}
